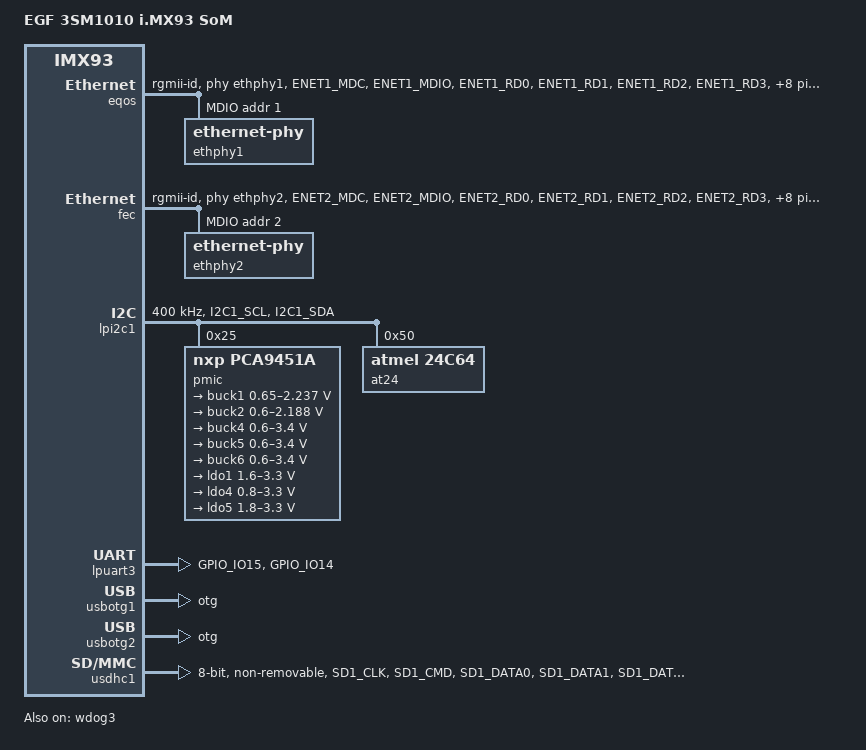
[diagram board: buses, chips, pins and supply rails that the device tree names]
// SPDX-License-Identifier: (GPL-2.0+ OR MIT)
/*
 * Copyright 2022 NXP
 */

/dts-v1/;

#include <dt-bindings/usb/pd.h>
#include "imx93.dtsi"

/ {
	model = "EGF 3SM1010 i.MX93 SoM";
	compatible = "egf,3sm1010", "fsl,imx93";

	chosen {
		bootargs = "console=ttyLP2,115200";
		stdout-path = &lpuart3;
	};

	reserved-memory {
		#address-cells = <2>;
		#size-cells = <2>;
		ranges;

		linux,cma {
			compatible = "shared-dma-pool";
			reusable;
			alloc-ranges = <0 0x80000000 0 0x40000000>;
			size = <0 0x10000000>;
			linux,cma-default;
		};
	};
};

&eqos {
	pinctrl-names = "default";
	pinctrl-0 = <&pinctrl_eqos>;
	phy-mode = "rgmii-id";
	phy-handle = <&ethphy1>;
	status = "okay";

	mdio {
		compatible = "snps,dwmac-mdio";
		#address-cells = <1>;
		#size-cells = <0>;
		clock-frequency = <5000000>;

		ethphy1: ethernet-phy@1 {
			reg = <1>;
			eee-broken-1000t;
		};
	};
};

&fec {
	pinctrl-names = "default";
	pinctrl-0 = <&pinctrl_fec>;
	phy-mode = "rgmii-id";
	phy-handle = <&ethphy2>;
	fsl,magic-packet;
	status = "okay";

	mdio {
		#address-cells = <1>;
		#size-cells = <0>;
		clock-frequency = <5000000>;

		ethphy2: ethernet-phy@2 {
			reg = <2>;
			eee-broken-1000t;
		};
	};
};

&lpi2c1 {
	#address-cells = <1>;
	#size-cells = <0>;
	clock-frequency = <400000>;
	pinctrl-names = "default", "sleep";
	pinctrl-0 = <&pinctrl_lpi2c1>;
	pinctrl-1 = <&pinctrl_lpi2c1>;
	status = "okay";

	pmic@25 {
		compatible = "nxp,pca9451a";
		reg = <0x25>;

		regulators {
			buck1: BUCK1 {
				regulator-name = "BUCK1";
				regulator-min-microvolt = <650000>;
				regulator-max-microvolt = <2237500>;
				regulator-boot-on;
				regulator-always-on;
				regulator-ramp-delay = <3125>;
			};

			buck2: BUCK2 {
				regulator-name = "BUCK2";
				regulator-min-microvolt = <600000>;
				regulator-max-microvolt = <2187500>;
				regulator-boot-on;
				regulator-always-on;
				regulator-ramp-delay = <3125>;
			};

			buck4: BUCK4{
				regulator-name = "BUCK4";
				regulator-min-microvolt = <600000>;
				regulator-max-microvolt = <3400000>;
				regulator-boot-on;
				regulator-always-on;
			};

			buck5: BUCK5{
				regulator-name = "BUCK5";
				regulator-min-microvolt = <600000>;
				regulator-max-microvolt = <3400000>;
				regulator-boot-on;
				regulator-always-on;
			};

			buck6: BUCK6 {
				regulator-name = "BUCK6";
				regulator-min-microvolt = <600000>;
				regulator-max-microvolt = <3400000>;
				regulator-boot-on;
				regulator-always-on;
			};

			ldo1: LDO1 {
				regulator-name = "LDO1";
				regulator-min-microvolt = <1600000>;
				regulator-max-microvolt = <3300000>;
				regulator-boot-on;
				regulator-always-on;
			};

			ldo4: LDO4 {
				regulator-name = "LDO4";
				regulator-min-microvolt = <800000>;
				regulator-max-microvolt = <3300000>;
				regulator-boot-on;
				regulator-always-on;
			};

			ldo5: LDO5 {
				regulator-name = "LDO5";
				regulator-min-microvolt = <1800000>;
				regulator-max-microvolt = <3300000>;
				regulator-boot-on;
				regulator-always-on;
			};
		};
	};

	at24@50 {
		compatible = "atmel,24c64";
		pagesize = <32>;
		reg = <0x50>;
	};

};

&lpuart3 { /* console */
	pinctrl-names = "default";
	pinctrl-0 = <&pinctrl_uart3>;
	clocks = <&clk IMX93_CLK_LPUART3_GATE>, <&clk IMX93_CLK_LPUART3_GATE>;
	clock-names = "ipg", "per";
	status = "okay";
};


&usbotg1 {
	dr_mode = "otg";
	hnp-disable;
	srp-disable;
	adp-disable;
	usb-role-switch;
	disable-over-current;
	samsung,picophy-pre-emp-curr-control = <3>;
	samsung,picophy-dc-vol-level-adjust = <7>;
	status = "okay";
};

&usbotg2 {
	dr_mode = "otg";
	hnp-disable;
	srp-disable;
	adp-disable;
	usb-role-switch;
	disable-over-current;
	samsung,picophy-pre-emp-curr-control = <3>;
	samsung,picophy-dc-vol-level-adjust = <7>;
	status = "okay";
};

&usdhc1 {
	pinctrl-names = "default", "state_100mhz", "state_200mhz";
	pinctrl-0 = <&pinctrl_usdhc1>;
	pinctrl-1 = <&pinctrl_usdhc1_100mhz>;
	pinctrl-2 = <&pinctrl_usdhc1_200mhz>;
	bus-width = <8>;
	non-removable;
	status = "okay";
};

&wdog3 {
	status = "okay";
};

&iomuxc {
	pinctrl_eqos: eqosgrp {
		fsl,pins = <
			MX93_PAD_ENET1_MDC__ENET_QOS_MDC			0x57e
			MX93_PAD_ENET1_MDIO__ENET_QOS_MDIO			0x57e
			MX93_PAD_ENET1_RD0__ENET_QOS_RGMII_RD0			0x57e
			MX93_PAD_ENET1_RD1__ENET_QOS_RGMII_RD1			0x57e
			MX93_PAD_ENET1_RD2__ENET_QOS_RGMII_RD2			0x57e
			MX93_PAD_ENET1_RD3__ENET_QOS_RGMII_RD3			0x57e
			MX93_PAD_ENET1_RXC__CCM_ENET_QOS_CLOCK_GENERATE_RX_CLK	0x5fe
			MX93_PAD_ENET1_RX_CTL__ENET_QOS_RGMII_RX_CTL		0x57e
			MX93_PAD_ENET1_TD0__ENET_QOS_RGMII_TD0			0x57e
			MX93_PAD_ENET1_TD1__ENET_QOS_RGMII_TD1			0x57e
			MX93_PAD_ENET1_TD2__ENET_QOS_RGMII_TD2			0x57e
			MX93_PAD_ENET1_TD3__ENET_QOS_RGMII_TD3			0x57e
			MX93_PAD_ENET1_TXC__CCM_ENET_QOS_CLOCK_GENERATE_TX_CLK	0x5fe
			MX93_PAD_ENET1_TX_CTL__ENET_QOS_RGMII_TX_CTL		0x57e
		>;
	};


	pinctrl_fec: fecgrp {
		fsl,pins = <
			MX93_PAD_ENET2_MDC__ENET1_MDC			0x57e
			MX93_PAD_ENET2_MDIO__ENET1_MDIO			0x57e
			MX93_PAD_ENET2_RD0__ENET1_RGMII_RD0		0x57e
			MX93_PAD_ENET2_RD1__ENET1_RGMII_RD1		0x57e
			MX93_PAD_ENET2_RD2__ENET1_RGMII_RD2		0x57e
			MX93_PAD_ENET2_RD3__ENET1_RGMII_RD3		0x57e
			MX93_PAD_ENET2_RXC__ENET1_RGMII_RXC		0x5fe
			MX93_PAD_ENET2_RX_CTL__ENET1_RGMII_RX_CTL	0x57e
			MX93_PAD_ENET2_TD0__ENET1_RGMII_TD0		0x57e
			MX93_PAD_ENET2_TD1__ENET1_RGMII_TD1		0x57e
			MX93_PAD_ENET2_TD2__ENET1_RGMII_TD2		0x57e
			MX93_PAD_ENET2_TD3__ENET1_RGMII_TD3		0x57e
			MX93_PAD_ENET2_TXC__ENET1_RGMII_TXC		0x5fe
			MX93_PAD_ENET2_TX_CTL__ENET1_RGMII_TX_CTL	0x57e
		>;
	};

	pinctrl_lpi2c1: lpi2c1grp {
		fsl,pins = <
			MX93_PAD_I2C1_SCL__LPI2C1_SCL			0x40000b9e
			MX93_PAD_I2C1_SDA__LPI2C1_SDA			0x40000b9e
		>;
	};

	pinctrl_uart3: uart3grp {
		fsl,pins = <
			MX93_PAD_GPIO_IO15__LPUART3_RX			0x31e
			MX93_PAD_GPIO_IO14__LPUART3_TX			0x31e
		>;
	};

	/* need to config the SION for data and cmd pad, refer to ERR052021 */
	pinctrl_usdhc1: usdhc1grp {
		fsl,pins = <
			MX93_PAD_SD1_CLK__USDHC1_CLK		0x1582
			MX93_PAD_SD1_CMD__USDHC1_CMD		0x40001382
			MX93_PAD_SD1_DATA0__USDHC1_DATA0	0x40001382
			MX93_PAD_SD1_DATA1__USDHC1_DATA1	0x40001382
			MX93_PAD_SD1_DATA2__USDHC1_DATA2	0x40001382
			MX93_PAD_SD1_DATA3__USDHC1_DATA3	0x40001382
			MX93_PAD_SD1_DATA4__USDHC1_DATA4	0x40001382
			MX93_PAD_SD1_DATA5__USDHC1_DATA5	0x40001382
			MX93_PAD_SD1_DATA6__USDHC1_DATA6	0x40001382
			MX93_PAD_SD1_DATA7__USDHC1_DATA7	0x40001382
			MX93_PAD_SD1_STROBE__USDHC1_STROBE	0x1582
		>;
	};

	/* need to config the SION for data and cmd pad, refer to ERR052021 */
	pinctrl_usdhc1_100mhz: usdhc1-100mhzgrp {
		fsl,pins = <
			MX93_PAD_SD1_CLK__USDHC1_CLK		0x158e
			MX93_PAD_SD1_CMD__USDHC1_CMD		0x4000138e
			MX93_PAD_SD1_DATA0__USDHC1_DATA0	0x4000138e
			MX93_PAD_SD1_DATA1__USDHC1_DATA1	0x4000138e
			MX93_PAD_SD1_DATA2__USDHC1_DATA2	0x4000138e
			MX93_PAD_SD1_DATA3__USDHC1_DATA3	0x4000138e
			MX93_PAD_SD1_DATA4__USDHC1_DATA4	0x4000138e
			MX93_PAD_SD1_DATA5__USDHC1_DATA5	0x4000138e
			MX93_PAD_SD1_DATA6__USDHC1_DATA6	0x4000138e
			MX93_PAD_SD1_DATA7__USDHC1_DATA7	0x4000138e
			MX93_PAD_SD1_STROBE__USDHC1_STROBE	0x158e
		>;
	};

	/* need to config the SION for data and cmd pad, refer to ERR052021 */
	pinctrl_usdhc1_200mhz: usdhc1-200mhzgrp {
		fsl,pins = <
			MX93_PAD_SD1_CLK__USDHC1_CLK		0x15fe
			MX93_PAD_SD1_CMD__USDHC1_CMD		0x400013fe
			MX93_PAD_SD1_DATA0__USDHC1_DATA0	0x400013fe
			MX93_PAD_SD1_DATA1__USDHC1_DATA1	0x400013fe
			MX93_PAD_SD1_DATA2__USDHC1_DATA2	0x400013fe
			MX93_PAD_SD1_DATA3__USDHC1_DATA3	0x400013fe
			MX93_PAD_SD1_DATA4__USDHC1_DATA4	0x400013fe
			MX93_PAD_SD1_DATA5__USDHC1_DATA5	0x400013fe
			MX93_PAD_SD1_DATA6__USDHC1_DATA6	0x400013fe
			MX93_PAD_SD1_DATA7__USDHC1_DATA7	0x400013fe
			MX93_PAD_SD1_STROBE__USDHC1_STROBE	0x15fe
		>;
	};
};
